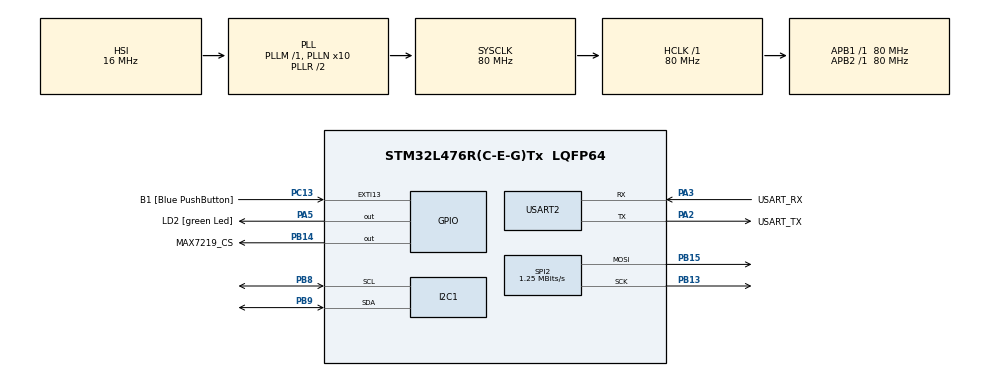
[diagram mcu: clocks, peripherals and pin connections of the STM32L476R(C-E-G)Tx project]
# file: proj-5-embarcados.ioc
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I2C1.Timing=0x10D19CE4
Mcu.Family=STM32L4
Mcu.Name=STM32L476R(C-E-G)Tx
Mcu.Package=LQFP64
NVIC.I2C1_ER_IRQn=true\:0\:0\:false\:false\:true\:true\:true\:true
NVIC.I2C1_EV_IRQn=true\:0\:0\:false\:false\:true\:true\:true\:true
NVIC.PriorityGroup=NVIC_PRIORITYGROUP_4
NVIC.SPI2_IRQn=true\:0\:0\:false\:false\:true\:true\:true\:true
NVIC.USART2_IRQn=true\:0\:0\:false\:false\:true\:true\:true\:true
PA13\ (JTMS-SWDIO).GPIO_Label=TMS
PA13\ (JTMS-SWDIO).Mode=Serial_Wire
PA13\ (JTMS-SWDIO).Signal=SYS_JTMS-SWDIO
PA14\ (JTCK-SWCLK).GPIO_Label=TCK
PA14\ (JTCK-SWCLK).Mode=Serial_Wire
PA14\ (JTCK-SWCLK).Signal=SYS_JTCK-SWCLK
PA2.GPIO_Label=USART_TX
PA2.GPIO_Mode=GPIO_MODE_AF_PP
PA2.GPIO_PuPd=GPIO_NOPULL
PA2.GPIO_Speed=GPIO_SPEED_FREQ_VERY_HIGH
PA2.Mode=Asynchronous
PA2.Signal=USART2_TX
PA3.GPIO_Label=USART_RX
PA3.GPIO_Mode=GPIO_MODE_AF_PP
PA3.GPIO_PuPd=GPIO_NOPULL
PA3.GPIO_Speed=GPIO_SPEED_FREQ_VERY_HIGH
PA3.Mode=Asynchronous
PA3.Signal=USART2_RX
PA5.GPIO_Label=LD2 [green Led]
PA5.GPIO_ModeDefaultOutputPP=GPIO_MODE_OUTPUT_PP
PA5.GPIO_PuPd=GPIO_NOPULL
PA5.GPIO_Speed=GPIO_SPEED_FREQ_LOW
PA5.Signal=GPIO_Output
PB13.Mode=TX_Only_Simplex_Unidirect_Master
PB13.Signal=SPI2_SCK
PB14.GPIO_Label=MAX7219_CS
PB14.GPIO_Speed=GPIO_SPEED_FREQ_VERY_HIGH
PB14.PinState=GPIO_PIN_SET
PB14.Signal=GPIO_Output
PB15.Mode=TX_Only_Simplex_Unidirect_Master
PB15.Signal=SPI2_MOSI
PB3\ (JTDO-TRACESWO).GPIO_Label=SWO
PB3\ (JTDO-TRACESWO).Signal=SYS_JTDO-SWO
PB8.Mode=I2C
PB8.Signal=I2C1_SCL
PB9.Mode=I2C
PB9.Signal=I2C1_SDA
PC13.GPIO_Label=B1 [Blue PushButton]
PC13.GPIO_ModeDefaultEXTI=GPIO_MODE_IT_FALLING
PC13.GPIO_PuPd=GPIO_NOPULL
PC13.Signal=GPXTI13
PC14-OSC32_IN\ (PC14).Mode=LSE-External-Oscillator
PC14-OSC32_IN\ (PC14).Signal=RCC_OSC32_IN
PC15-OSC32_OUT\ (PC15).Mode=LSE-External-Oscillator
PC15-OSC32_OUT\ (PC15).Signal=RCC_OSC32_OUT
PH0-OSC_IN\ (PH0).Signal=RCC_OSC_IN
PH1-OSC_OUT\ (PH1).Signal=RCC_OSC_OUT
ProjectManager.HeapSize=0x200
ProjectManager.StackSize=0x400
ProjectManager.TargetToolchain=STM32CubeIDE
RCC.ADCFreq_Value=64000000
RCC.AHBFreq_Value=80000000
RCC.APB1Freq_Value=80000000
RCC.APB1TimFreq_Value=80000000
RCC.APB2Freq_Value=80000000
RCC.APB2TimFreq_Value=80000000
RCC.CortexFreq_Value=80000000
RCC.HCLKFreq_Value=80000000
RCC.HSE_VALUE=8000000
RCC.HSI_VALUE=16000000
RCC.MSI_VALUE=4000000
RCC.PLLN=10
RCC.PLLSourceVirtual=RCC_PLLSOURCE_HSI
RCC.PREFETCH_ENABLE=1
RCC.SYSCLKFreq_VALUE=80000000
RCC.SYSCLKSource=RCC_SYSCLKSOURCE_PLLCLK
RCC.USBFreq_Value=64000000
RCC.VCOOutputFreq_Value=160000000
SPI2.BaudRatePrescaler=SPI_BAUDRATEPRESCALER_64
SPI2.CalculateBaudRate=1.25 MBits/s
SPI2.DataSize=SPI_DATASIZE_8BIT
SPI2.Direction=SPI_DIRECTION_2LINES
SPI2.Mode=SPI_MODE_MASTER
SPI2.VirtualType=VM_MASTER
USART2.VirtualMode-Asynchronous=VM_ASYNC
board=NUCLEO-L476RG

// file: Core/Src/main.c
/* USER CODE BEGIN Header */
/**
  ******************************************************************************
  * @file           : main.c
  * @brief          : Main program body
  ******************************************************************************
  * @attention
  *
  * Copyright (c) 2026 STMicroelectronics.
  * All rights reserved.
  *
  * This software is licensed under terms that can be found in the LICENSE file
  * in the root directory of this software component.
  * If no LICENSE file comes with this software, it is provided AS-IS.
  *
  ******************************************************************************
  */
/* USER CODE END Header */
#include "main.h"

/* USER CODE BEGIN Includes */
#include <stdio.h>
#include <string.h>
#include <stdlib.h>
/* USER CODE END Includes */

I2C_HandleTypeDef hi2c1;

SPI_HandleTypeDef hspi2;

UART_HandleTypeDef huart2;

/* USER CODE BEGIN PV */

#define PCF8591_ADDR       (0x48 << 1)

#define PCF_AIN_LDR        0
#define PCF_AIN_TEMP       1
#define PCF_AIN_VOLT       3

uint8_t uart_rx_byte;
char uart_cmd[32];
uint8_t uart_idx = 0;

uint8_t i2c_rx_buf[2];
uint8_t dac_buf[2];
uint8_t pcf_control_byte;
volatile uint8_t i2c_busy = 0;
volatile uint8_t spi_busy = 0;

uint8_t last_value = 0;
uint8_t canal_atual = 0;
char current_letter = 0;
char current_sign = 0;
uint8_t matrix_toggle = 0;
uint32_t last_toggle_tick = 0;

uint8_t spi_tx_buf[2];

const uint8_t CHAR_T[8] = {0x7E,0x18,0x18,0x18,0x18,0x18,0x18,0x00};
const uint8_t CHAR_V[8] = {0x42,0x42,0x42,0x42,0x24,0x24,0x18,0x00};
const uint8_t CHAR_L[8] = {0x40,0x40,0x40,0x40,0x40,0x40,0x7E,0x00};
const uint8_t CHAR_PLUS[8] = {0x00,0x18,0x18,0x7E,0x7E,0x18,0x18,0x00};
const uint8_t CHAR_MINUS[8] = {0x00,0x00,0x00,0x7E,0x7E,0x00,0x00,0x00};
const uint8_t CHAR_BLANK[8] = {0,0,0,0,0,0,0,0};

/* USER CODE END PV */

void SystemClock_Config(void);
static void MX_GPIO_Init(void);
static void MX_I2C1_Init(void);
static void MX_SPI2_Init(void);
static void MX_USART2_UART_Init(void);
/* USER CODE BEGIN PFP */

void UART_ProcessCommand(char *cmd);
void PCF8591_Read_IT(uint8_t channel);
void PCF8591_SetDAC_IT(uint8_t value);

void MAX7219_Send_IT(uint8_t address, uint8_t data);
void MAX7219_Init_Blocking(void);
void MAX7219_DisplayChar_Blocking(const uint8_t character[8]);
void MAX7219_Clear_Blocking(void);

/* USER CODE END PFP */

int main(void)
{

  /* MCU Configuration--------------------------------------------------------*/

  /* Reset of all peripherals, Initializes the Flash interface and the Systick. */
  HAL_Init();

  /* Configure the system clock */
  SystemClock_Config();

  /* Initialize all configured peripherals */
  MX_GPIO_Init();
  MX_I2C1_Init();
  MX_SPI2_Init();
  MX_USART2_UART_Init();
  /* USER CODE BEGIN 2 */

  HAL_GPIO_WritePin(MAX7219_CS_GPIO_Port, MAX7219_CS_Pin, GPIO_PIN_SET);

  MAX7219_Init_Blocking();
  MAX7219_Clear_Blocking();

  HAL_UART_Receive_IT(&huart2, &uart_rx_byte, 1);

  //char start_msg[] = "\r\nSistema iniciado. Comandos: Temp, Volt, LDR, Set_DAC_<0-255>\r\n";
  char start_msg[] =
  "\r\n====================================\r\n"
  " Projeto 5 - I2C + SPI + PCF8591 + MAX7219\r\n"
  " NUCLEO-L476RG + USART2 + I2C1 + SPI2\r\n"
  "====================================\r\n"
  "Comandos disponiveis:\r\n"
  "Read_AIN0  // LDR: matriz alternara entre L e + ou -\r\n"
  "Read_AIN1  // Temperatura: matriz alternara entre T e + ou -\r\n"
  //"Read_AIN3  // Tensao: matriz alternara entre V e + ou -\r\n"
  "Read_AIN3  // Tensao do potenciometro: matriz alternara entre V e + ou -\r\n"
  "Set_DAC_0 ate Set_DAC_255\r\n\r\n";
  HAL_UART_Transmit(&huart2, (uint8_t*)start_msg, strlen(start_msg), HAL_MAX_DELAY);

  /* USER CODE END 2 */

  /* Infinite loop */
  while (1)
  {
	  if (current_letter != 0 && HAL_GetTick() - last_toggle_tick >= 500)
	    {
	      last_toggle_tick = HAL_GetTick();
	      matrix_toggle = !matrix_toggle;

	      if (matrix_toggle == 0)
	      {
	        if (current_letter == 'T') MAX7219_DisplayChar_Blocking(CHAR_T);
	        else if (current_letter == 'V') MAX7219_DisplayChar_Blocking(CHAR_V);
	        else if (current_letter == 'L') MAX7219_DisplayChar_Blocking(CHAR_L);
	      }
	      else
	      {
	        if (current_sign == '+') MAX7219_DisplayChar_Blocking(CHAR_PLUS);
	        else MAX7219_DisplayChar_Blocking(CHAR_MINUS);
	      }
	    }

  }
}

void SystemClock_Config(void)
{
  RCC_OscInitTypeDef RCC_OscInitStruct = {0};
  RCC_ClkInitTypeDef RCC_ClkInitStruct = {0};

  /** Configure the main internal regulator output voltage
  */
  if (HAL_PWREx_ControlVoltageScaling(PWR_REGULATOR_VOLTAGE_SCALE1) != HAL_OK)
  {
    Error_Handler();
  }

  /** Initializes the RCC Oscillators according to the specified parameters
  * in the RCC_OscInitTypeDef structure.
  */
  RCC_OscInitStruct.OscillatorType = RCC_OSCILLATORTYPE_HSI;
  RCC_OscInitStruct.HSIState = RCC_HSI_ON;
  RCC_OscInitStruct.HSICalibrationValue = RCC_HSICALIBRATION_DEFAULT;
  RCC_OscInitStruct.PLL.PLLState = RCC_PLL_ON;
  RCC_OscInitStruct.PLL.PLLSource = RCC_PLLSOURCE_HSI;
  RCC_OscInitStruct.PLL.PLLM = 1;
  RCC_OscInitStruct.PLL.PLLN = 10;
  RCC_OscInitStruct.PLL.PLLP = RCC_PLLP_DIV7;
  RCC_OscInitStruct.PLL.PLLQ = RCC_PLLQ_DIV2;
  RCC_OscInitStruct.PLL.PLLR = RCC_PLLR_DIV2;
  if (HAL_RCC_OscConfig(&RCC_OscInitStruct) != HAL_OK)
  {
    Error_Handler();
  }

  /** Initializes the CPU, AHB and APB buses clocks
  */
  RCC_ClkInitStruct.ClockType = RCC_CLOCKTYPE_HCLK|RCC_CLOCKTYPE_SYSCLK
                              |RCC_CLOCKTYPE_PCLK1|RCC_CLOCKTYPE_PCLK2;
  RCC_ClkInitStruct.SYSCLKSource = RCC_SYSCLKSOURCE_PLLCLK;
  RCC_ClkInitStruct.AHBCLKDivider = RCC_SYSCLK_DIV1;
  RCC_ClkInitStruct.APB1CLKDivider = RCC_HCLK_DIV1;
  RCC_ClkInitStruct.APB2CLKDivider = RCC_HCLK_DIV1;

  if (HAL_RCC_ClockConfig(&RCC_ClkInitStruct, FLASH_LATENCY_4) != HAL_OK)
  {
    Error_Handler();
  }
}

static void MX_I2C1_Init(void)
{

  hi2c1.Instance = I2C1;
  hi2c1.Init.Timing = 0x10D19CE4;
  hi2c1.Init.OwnAddress1 = 0;
  hi2c1.Init.AddressingMode = I2C_ADDRESSINGMODE_7BIT;
  hi2c1.Init.DualAddressMode = I2C_DUALADDRESS_DISABLE;
  hi2c1.Init.OwnAddress2 = 0;
  hi2c1.Init.OwnAddress2Masks = I2C_OA2_NOMASK;
  hi2c1.Init.GeneralCallMode = I2C_GENERALCALL_DISABLE;
  hi2c1.Init.NoStretchMode = I2C_NOSTRETCH_DISABLE;
  if (HAL_I2C_Init(&hi2c1) != HAL_OK)
  {
    Error_Handler();
  }

  /** Configure Analogue filter
  */
  if (HAL_I2CEx_ConfigAnalogFilter(&hi2c1, I2C_ANALOGFILTER_ENABLE) != HAL_OK)
  {
    Error_Handler();
  }

  /** Configure Digital filter
  */
  if (HAL_I2CEx_ConfigDigitalFilter(&hi2c1, 0) != HAL_OK)
  {
    Error_Handler();
  }

}

static void MX_SPI2_Init(void)
{

  /* SPI2 parameter configuration*/
  hspi2.Instance = SPI2;
  hspi2.Init.Mode = SPI_MODE_MASTER;
  hspi2.Init.Direction = SPI_DIRECTION_2LINES;
  hspi2.Init.DataSize = SPI_DATASIZE_8BIT;
  hspi2.Init.CLKPolarity = SPI_POLARITY_LOW;
  hspi2.Init.CLKPhase = SPI_PHASE_1EDGE;
  hspi2.Init.NSS = SPI_NSS_SOFT;
  hspi2.Init.BaudRatePrescaler = SPI_BAUDRATEPRESCALER_64;
  hspi2.Init.FirstBit = SPI_FIRSTBIT_MSB;
  hspi2.Init.TIMode = SPI_TIMODE_DISABLE;
  hspi2.Init.CRCCalculation = SPI_CRCCALCULATION_DISABLE;
  hspi2.Init.CRCPolynomial = 7;
  hspi2.Init.CRCLength = SPI_CRC_LENGTH_DATASIZE;
  hspi2.Init.NSSPMode = SPI_NSS_PULSE_ENABLE;
  if (HAL_SPI_Init(&hspi2) != HAL_OK)
  {
    Error_Handler();
  }

}

static void MX_USART2_UART_Init(void)
{

  huart2.Instance = USART2;
  huart2.Init.BaudRate = 115200;
  huart2.Init.WordLength = UART_WORDLENGTH_8B;
  huart2.Init.StopBits = UART_STOPBITS_1;
  huart2.Init.Parity = UART_PARITY_NONE;
  huart2.Init.Mode = UART_MODE_TX_RX;
  huart2.Init.HwFlowCtl = UART_HWCONTROL_NONE;
  huart2.Init.OverSampling = UART_OVERSAMPLING_16;
  huart2.Init.OneBitSampling = UART_ONE_BIT_SAMPLE_DISABLE;
  huart2.AdvancedInit.AdvFeatureInit = UART_ADVFEATURE_NO_INIT;
  if (HAL_UART_Init(&huart2) != HAL_OK)
  {
    Error_Handler();
  }

}

static void MX_GPIO_Init(void)
{
  GPIO_InitTypeDef GPIO_InitStruct = {0};

  /* GPIO Ports Clock Enable */
  __HAL_RCC_GPIOC_CLK_ENABLE();
  __HAL_RCC_GPIOH_CLK_ENABLE();
  __HAL_RCC_GPIOA_CLK_ENABLE();
  __HAL_RCC_GPIOB_CLK_ENABLE();

  /*Configure GPIO pin Output Level */
  HAL_GPIO_WritePin(LD2_GPIO_Port, LD2_Pin, GPIO_PIN_RESET);

  /*Configure GPIO pin Output Level */
  HAL_GPIO_WritePin(MAX7219_CS_GPIO_Port, MAX7219_CS_Pin, GPIO_PIN_SET);

  /*Configure GPIO pin : B1_Pin */
  GPIO_InitStruct.Pin = B1_Pin;
  GPIO_InitStruct.Mode = GPIO_MODE_IT_FALLING;
  GPIO_InitStruct.Pull = GPIO_NOPULL;
  HAL_GPIO_Init(B1_GPIO_Port, &GPIO_InitStruct);

  /*Configure GPIO pin : LD2_Pin */
  GPIO_InitStruct.Pin = LD2_Pin;
  GPIO_InitStruct.Mode = GPIO_MODE_OUTPUT_PP;
  GPIO_InitStruct.Pull = GPIO_NOPULL;
  GPIO_InitStruct.Speed = GPIO_SPEED_FREQ_LOW;
  HAL_GPIO_Init(LD2_GPIO_Port, &GPIO_InitStruct);

  /*Configure GPIO pin : MAX7219_CS_Pin */
  GPIO_InitStruct.Pin = MAX7219_CS_Pin;
  GPIO_InitStruct.Mode = GPIO_MODE_OUTPUT_PP;
  GPIO_InitStruct.Pull = GPIO_NOPULL;
  GPIO_InitStruct.Speed = GPIO_SPEED_FREQ_VERY_HIGH;
  HAL_GPIO_Init(MAX7219_CS_GPIO_Port, &GPIO_InitStruct);

}

/* USER CODE BEGIN 4 */

void UART_ProcessCommand(char *cmd)
{
  //if (strcmp(cmd, "Temp") == 0 || strcmp(cmd, "Read_AIN1") == 0)
  if (strcmp(cmd, "Read_AIN1") == 0)
  {
    current_letter = 'T';
    PCF8591_Read_IT(PCF_AIN_TEMP);
  }
  //else if (strcmp(cmd, "Volt") == 0 || strcmp(cmd, "Read_AIN3") == 0)
  else if (strcmp(cmd, "Read_AIN3") == 0)
  {
    current_letter = 'V';
    PCF8591_Read_IT(PCF_AIN_VOLT);
  }
  //else if (strcmp(cmd, "LDR") == 0 || strcmp(cmd, "Read_AIN0") == 0)
  else if (strcmp(cmd, "Read_AIN0") == 0)
  {
    current_letter = 'L';
    PCF8591_Read_IT(PCF_AIN_LDR);
  }
  else if (strncmp(cmd, "Set_DAC_", 8) == 0)
  {
    int value = atoi(&cmd[8]);

    if (value < 0) value = 0;
    if (value > 255) value = 255;

    PCF8591_SetDAC_IT((uint8_t)value);
  }
  else
  {
    char msg[] = "Comando invalido\r\n";
    HAL_UART_Transmit(&huart2, (uint8_t*)msg, strlen(msg), HAL_MAX_DELAY);
  }
}

void PCF8591_Read_IT(uint8_t channel)
{
  if (i2c_busy) return;

  //pcf_control_byte = 0x00 | (channel & 0x03);
  canal_atual = channel;
  pcf_control_byte = 0x00 | (channel & 0x03);
  i2c_busy = 1;

  HAL_I2C_Master_Transmit_IT(&hi2c1, PCF8591_ADDR, &pcf_control_byte, 1);
}

void PCF8591_SetDAC_IT(uint8_t value)
{
  //static uint8_t dac_buf[2];

  if (i2c_busy) return;

  canal_atual = 99;
  dac_buf[0] = 0x40;
  dac_buf[1] = value;
  i2c_busy = 1;

  HAL_I2C_Master_Transmit_IT(&hi2c1, PCF8591_ADDR, dac_buf, 2);
}

void MAX7219_Send_IT(uint8_t address, uint8_t data)
{
  if (spi_busy) return;

  spi_tx_buf[0] = address;
  spi_tx_buf[1] = data;

  spi_busy = 1;
  HAL_GPIO_WritePin(MAX7219_CS_GPIO_Port, MAX7219_CS_Pin, GPIO_PIN_RESET);
  HAL_SPI_Transmit_IT(&hspi2, spi_tx_buf, 2);
}

void MAX7219_Send_Blocking(uint8_t address, uint8_t data)
{
  uint8_t data_tx[2] = {address, data};

  HAL_GPIO_WritePin(MAX7219_CS_GPIO_Port, MAX7219_CS_Pin, GPIO_PIN_RESET);
  HAL_SPI_Transmit(&hspi2, data_tx, 2, HAL_MAX_DELAY);
  HAL_GPIO_WritePin(MAX7219_CS_GPIO_Port, MAX7219_CS_Pin, GPIO_PIN_SET);
}

void MAX7219_Init_Blocking(void)
{
  MAX7219_Send_Blocking(0x09, 0x00);
  MAX7219_Send_Blocking(0x0A, 0x03);
  MAX7219_Send_Blocking(0x0B, 0x07);
  MAX7219_Send_Blocking(0x0C, 0x01);
  MAX7219_Send_Blocking(0x0F, 0x00);
}
/*
void MAX7219_DisplayChar_Blocking(const uint8_t character[8])
{
  for (uint8_t i = 0; i < 8; i++)
  {
    MAX7219_Send_Blocking(i + 1, character[i]);
  }
}
*/
void MAX7219_DisplayChar_Blocking(const uint8_t character[8])
{
  uint8_t rotated[8] = {0};

  /*
   * Corrige a orientacao fisica da matriz na protoboard.
   * Antes, V aparecia como > e - aparecia como |.
   * Aqui fazemos uma rotacao de 90 graus no sentido horario.
   */
  for (uint8_t row = 0; row < 8; row++)
  {
    for (uint8_t col = 0; col < 8; col++)
    {
      if (character[row] & (1 << col))
      {
        //rotated[col] |= (1 << (7 - row));
    	rotated[7 - col] |= (1 << row);
      }
    }
  }

  for (uint8_t i = 0; i < 8; i++)
  {
    MAX7219_Send_Blocking(i + 1, rotated[i]);
  }
}

void MAX7219_Clear_Blocking(void)
{
  MAX7219_DisplayChar_Blocking(CHAR_BLANK);
}

void HAL_UART_RxCpltCallback(UART_HandleTypeDef *huart)
{
  if (huart->Instance == USART2)
  {
    if (uart_rx_byte == '\r' || uart_rx_byte == '\n')
    {
      if (uart_idx > 0)
      {
        uart_cmd[uart_idx] = '\0';
        UART_ProcessCommand(uart_cmd);
        uart_idx = 0;
      }
    }
    else
    {
      if (uart_idx < sizeof(uart_cmd) - 1)
      {
        uart_cmd[uart_idx++] = uart_rx_byte;
      }
    }

    HAL_UART_Receive_IT(&huart2, &uart_rx_byte, 1);
  }
}

void HAL_I2C_MasterTxCpltCallback(I2C_HandleTypeDef *hi2c)
{
  if (hi2c->Instance == I2C1)
  {
    //if ((pcf_control_byte & 0x40) == 0x40)
	if (canal_atual == 99)
    {
      i2c_busy = 0;
      //char msg[] = "DAC atualizado\r\n";
      //HAL_UART_Transmit(&huart2, (uint8_t*)msg, strlen(msg), HAL_MAX_DELAY);
      uint32_t tensao_mV = (dac_buf[1] * 3300) / 255;
      char msg[80];

      sprintf(msg, "Valor do DAC: %u | %lumV\r\n", dac_buf[1], tensao_mV);
      HAL_UART_Transmit(&huart2, (uint8_t*)msg, strlen(msg), HAL_MAX_DELAY);
    }
    else
    {
      HAL_I2C_Master_Receive_IT(&hi2c1, PCF8591_ADDR, i2c_rx_buf, 2);
    }
  }
}

void HAL_I2C_MasterRxCpltCallback(I2C_HandleTypeDef *hi2c)
{
  if (hi2c->Instance == I2C1)
  {
    i2c_busy = 0;

    last_value = i2c_rx_buf[1];

    if (last_value < 128) current_sign = '-';
    else current_sign = '+';

    matrix_toggle = 0;
    last_toggle_tick = HAL_GetTick() - 500;

    /*
    matrix_toggle = 0;
    last_toggle_tick = HAL_GetTick();

    if (current_letter == 'T') MAX7219_DisplayChar_Blocking(CHAR_T);
    else if (current_letter == 'V') MAX7219_DisplayChar_Blocking(CHAR_V);
    else if (current_letter == 'L') MAX7219_DisplayChar_Blocking(CHAR_L);
    */

    //char msg[64];
    char msg[120];
    //sprintf(msg, "Valor lido: %u | %c\r\n", last_value, current_sign);
    uint32_t tensao_mV = (last_value * 3300) / 255;

    if (canal_atual == PCF_AIN_LDR)
    {
      sprintf(msg,
              "AIN0: %u | %lumV // matriz alternara entre L e %c\r\n",
              last_value, tensao_mV, current_sign);
    }
    else if (canal_atual == PCF_AIN_TEMP)
    {
      sprintf(msg,
              "AIN1: %u | %lumV // matriz alternara entre T e %c\r\n",
              last_value, tensao_mV, current_sign);
    }
    else if (canal_atual == PCF_AIN_VOLT)
    {
      sprintf(msg,
              //"AIN3: %u | %lumV // matriz alternara entre V e %c\r\n",
			  "AIN3 (potenciometro): %u | %lumV // matriz alternara entre V e %c\r\n",
              last_value, tensao_mV, current_sign);
    }
    HAL_UART_Transmit(&huart2, (uint8_t*)msg, strlen(msg), HAL_MAX_DELAY);

    HAL_GPIO_TogglePin(LD2_GPIO_Port, LD2_Pin);
  }
}

void HAL_I2C_ErrorCallback(I2C_HandleTypeDef *hi2c)
{
  if (hi2c->Instance == I2C1)
  {
    i2c_busy = 0;
    char msg[] = "Erro I2C\r\n";
    HAL_UART_Transmit(&huart2, (uint8_t*)msg, strlen(msg), HAL_MAX_DELAY);
  }
}

void HAL_SPI_TxCpltCallback(SPI_HandleTypeDef *hspi)
{
  if (hspi->Instance == SPI2)
  {
    HAL_GPIO_WritePin(MAX7219_CS_GPIO_Port, MAX7219_CS_Pin, GPIO_PIN_SET);
    spi_busy = 0;
  }
}

/* USER CODE END 4 */

void Error_Handler(void)
{
  __disable_irq();
  while (1)
  {
  }
}
